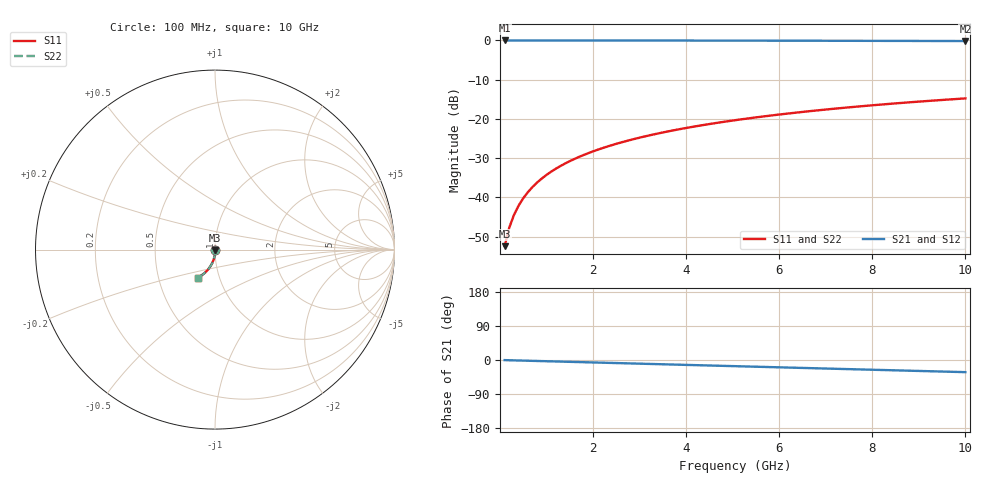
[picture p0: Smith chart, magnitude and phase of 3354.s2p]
# Hz S RI R 50.00
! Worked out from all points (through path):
!   100 points, 100 MHz to 10 GHz, reference 50 ohm
!   highest |S21| = -0.01 dB at 100 MHz (marker M1); lowest = -0.2 dB at 10 GHz (marker M2)
!   group delay of S21, straight-line fit = 8.91 ps
!   lowest |S11| = -52.4 dB at 100 MHz (marker M3), VSWR 1.00, Z = 50.1 - j0.195 ohm
!   |S11| at or under -10 dB: start of sweep to end of sweep
!   |S22| runs from -52.4 to -14.8 dB; largest |S21 - S12| = 0
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1e8  0.00141 -0.00194  0.9986 -0.00562  0.9986 -0.00562  0.00141 -0.00194
2e8  0.00138 -0.00389  0.9985 -0.0112  0.9985 -0.0112  0.00138 -0.00389
3e8  0.00133 -0.00583  0.9984 -0.0169  0.9984 -0.0169  0.00133 -0.00583
4e8  0.00126 -0.00777  0.9983 -0.0225  0.9983 -0.0225  0.00126 -0.00777
5e8  0.00116 -0.00971  0.9981 -0.0281  0.9981 -0.0281  0.00116 -0.00971
6e8  0.00104 -0.0116  0.9979 -0.0337  0.9979 -0.0337  0.00104 -0.0116
7e8  0.000901 -0.0136  0.9976 -0.0394  0.9976 -0.0394  0.000901 -0.0136
8e8  0.000737 -0.0155  0.9974 -0.045  0.9974 -0.045  0.000737 -0.0155
9e8  0.000552 -0.0175  0.9971 -0.0506  0.9971 -0.0506  0.000552 -0.0175
1.1e9  0.000115 -0.0213  0.9963 -0.0618  0.9963 -0.0618  0.000115 -0.0213
1.4e9  -0.000704 -0.0271  0.995 -0.0786  0.995 -0.0786  -0.000704 -0.0271
1.8e9  -0.0021 -0.0347  0.9927 -0.101  0.9927 -0.101  -0.0021 -0.0347
2.1e9  -0.00337 -0.0404  0.9906 -0.1177  0.9906 -0.1177  -0.00337 -0.0404
2.5e9  -0.00536 -0.0479  0.9874 -0.1399  0.9874 -0.1399  -0.00536 -0.0479
2.9e9  -0.00769 -0.0554  0.9835 -0.162  0.9835 -0.162  -0.00769 -0.0554
3.4e9  -0.0111 -0.0645  0.978 -0.1895  0.978 -0.1895  -0.0111 -0.0645
4.2e9  -0.0175 -0.0786  0.9674 -0.233  0.9674 -0.233  -0.0175 -0.0786
5.1e9  -0.0262 -0.0937  0.9529 -0.2811  0.9529 -0.2811  -0.0262 -0.0937
5.9e9  -0.0352 -0.1063  0.9378 -0.323  0.9378 -0.323  -0.0352 -0.1063
6.7e9  -0.0452 -0.1181  0.9208 -0.3639  0.9208 -0.3639  -0.0452 -0.1181
8.4e9  -0.0696 -0.1397  0.8784 -0.4472  0.8784 -0.4472  -0.0696 -0.1397
1e10  -0.0958 -0.1555  0.8315 -0.5206  0.8315 -0.5206  -0.0958 -0.1555
